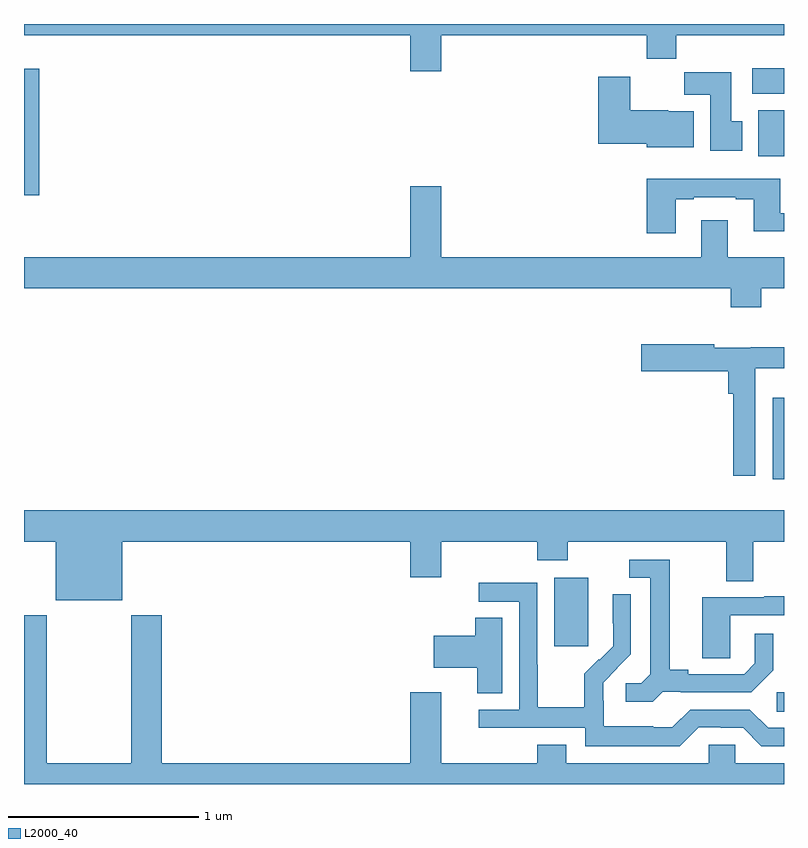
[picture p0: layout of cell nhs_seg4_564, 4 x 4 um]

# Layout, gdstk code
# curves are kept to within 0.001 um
import gdstk
lib = gdstk.Library(unit=1e-6, precision=1e-09)
def R(c, l, rs):  # rectangles x0, y0, x1, y1
    for r in rs: c.add(gdstk.rectangle(r[:2], r[2:], *l))
def P(c, l, *ps):  # polygons
    for p in ps: c.add(gdstk.Polygon(p, *l))
L2000_40 = (2000, 40)

nhs_seg4_564 = lib.new_cell('nhs_seg4_564')
R(nhs_seg4_564, L2000_40, [(142.962,773.281,143,773.382), (141.791,773.625,141.97,773.986), (142.94,774.504,143,774.934), (139,775.998,139.079,776.665), (142.865,776.204,143,776.446), (142.833,776.534,143,776.668)])
P(nhs_seg4_564, L2000_40, [(142.433,776.84),(143,776.84),(143,776.9),(139,776.9),(139,776.84),(141.032,776.84),(141.032,776.652),(141.196,776.652),(141.196,776.84),(142.277,776.84),(142.277,776.716),(142.433,776.716)],
  [(142.78,776.388),(142.723,776.388),(142.723,776.647),(142.474,776.647),(142.474,776.528),(142.613,776.528),(142.613,776.232),(142.78,776.232)],
  [(142.525,776.44),(142.392,776.44),(142.392,776.446),(142.192,776.446),(142.192,776.623),(142.022,776.623),(142.022,776.27),(142.278,776.27),(142.278,776.252),(142.525,776.252)],
  [(142.429,775.977),(142.525,775.977),(142.525,775.989),(142.745,775.989),(142.745,775.977),(142.841,775.977),(142.841,775.808),(143,775.808),(143,775.905),(142.981,775.905),(142.981,776.086),(142.277,776.086),(142.277,775.8),(142.429,775.8)],
  [(142.881,775.508),(143,775.508),(143,775.672),(142.705,775.672),(142.705,775.867),(142.565,775.867),(142.565,775.672),(141.196,775.672),(141.196,776.047),(141.032,776.047),(141.032,775.672),(139,775.672),(139,775.508),(142.721,775.508),(142.721,775.409),(142.881,775.409)],
  [(142.848,775.088),(143,775.088),(143,775.198),(142.824,775.198),(142.824,775.195),(142.632,775.195),(142.632,775.215),(142.248,775.215),(142.248,775.073),(142.706,775.073),(142.706,774.953),(142.732,774.953),(142.732,774.522),(142.848,774.522)],
  [(139.516,774.176),(141.032,774.176),(141.032,773.988),(141.196,773.988),(141.196,774.176),(141.701,774.176),(141.701,774.077),(141.861,774.077),(141.861,774.176),(142.697,774.176),(142.697,773.968),(142.837,773.968),(142.837,774.176),(143,774.176),(143,774.34),(139,774.34),(139,774.176),(139.166,774.176),(139.166,773.867),(139.516,773.867)],
  [(142.362,773.385),(142.456,773.385),(142.456,773.382),(142.828,773.382),(142.944,773.498),(142.944,773.692),(142.847,773.692),(142.847,773.535),(142.79,773.478),(142.495,773.478),(142.495,773.501),(142.399,773.501),(142.399,774.081),(142.185,774.081),(142.185,773.985),(142.295,773.985),(142.295,773.477),(142.248,773.43),(142.167,773.43),(142.167,773.333),(142.31,773.333)],
  [(142.551,773.199),(142.667,773.199),(142.667,773.196),(142.785,773.196),(142.881,773.1),(143,773.1),(143,773.196),(142.917,773.196),(142.821,773.292),(142.506,773.292),(142.413,773.199),(142.313,773.199),(142.313,773.203),(142.05,773.203),(142.05,773.337),(142.048,773.337),(142.048,773.434),(142.194,773.582),(142.194,773.9),(142.098,773.9),(142.098,773.746),(142.1,773.746),(142.1,773.624),(142.029,773.553),(142.026,773.556),(141.949,773.479),(141.949,773.305),(141.705,773.305),(141.705,773.528),(141.702,773.528),(141.702,773.958),(141.393,773.958),(141.393,773.859),(141.606,773.859),(141.606,773.292),(141.393,773.292),(141.393,773.196),(141.954,773.196),(141.954,773.099),(142.451,773.099)],
  [(142.716,773.787),(143,773.787),(143,773.887),(142.895,773.887),(142.895,773.883),(142.571,773.883),(142.571,773.563),(142.716,773.563)],
  [(143,773.008),(142.743,773.008),(142.743,773.106),(142.605,773.106),(142.605,773.008),(141.853,773.008),(141.853,773.107),(141.701,773.107),(141.701,773.008),(141.196,773.008),(141.196,773.383),(141.032,773.383),(141.032,773.008),(139.724,773.008),(139.724,773.788),(139.564,773.788),(139.564,773.008),(139.119,773.008),(139.119,773.788),(139,773.788),(139,772.9),(143,772.9)],
  [(141.517,773.774),(141.374,773.774),(141.374,773.679),(141.156,773.679),(141.156,773.513),(141.386,773.513),(141.386,773.377),(141.517,773.377)])

lib.write_gds('nhs_seg4_564.gds')
